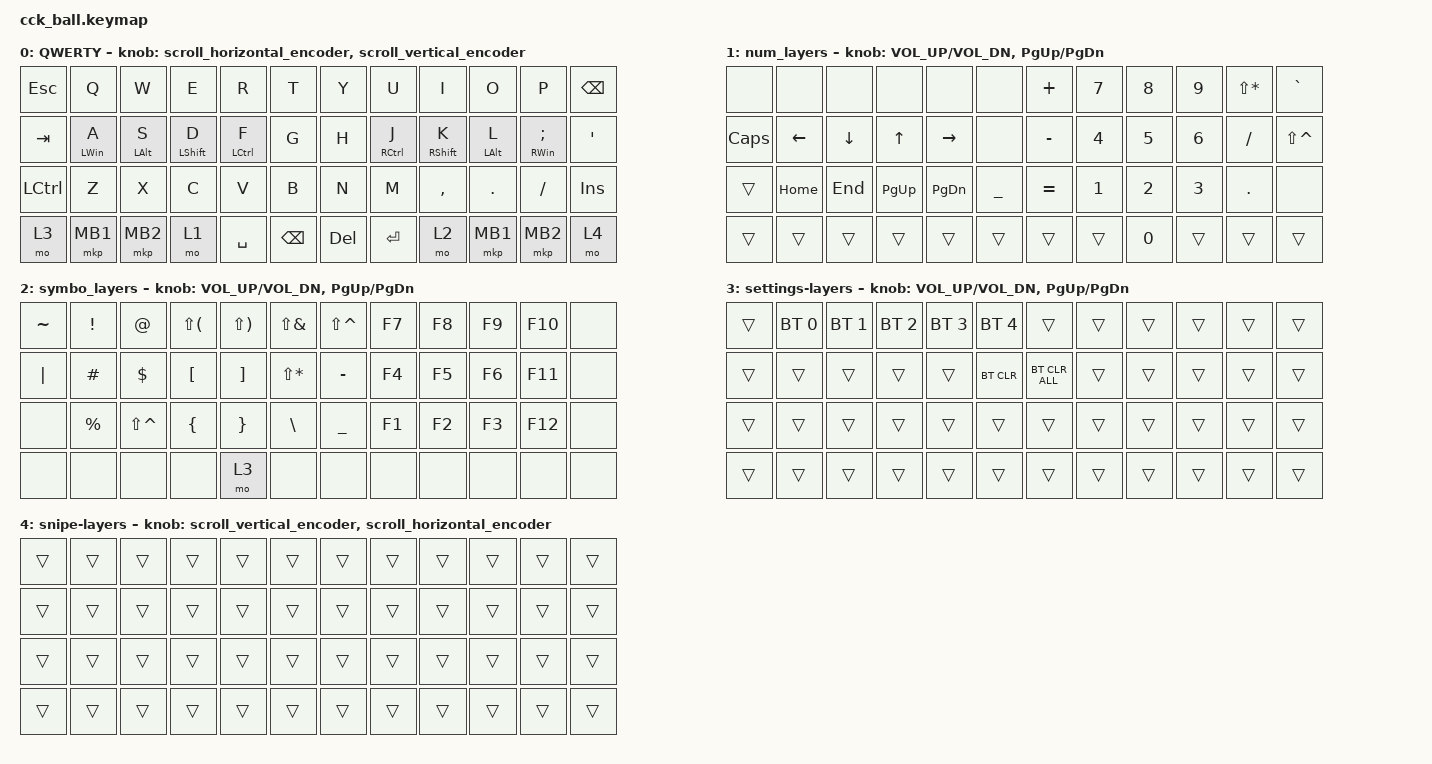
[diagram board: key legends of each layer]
#define ZMK_POINTING_DEFAULT_MOVE_VAL 1000 // 600
#define ZMK_POINTING_DEFAULT_SCRL_VAL 12   // 10

#include <input/processors.dtsi>
#include <zephyr/dt-bindings/input/input-event-codes.h>
#include <behaviors.dtsi>
#include <dt-bindings/zmk/bt.h>
#include <dt-bindings/zmk/keys.h>
#include <dt-bindings/zmk/pointing.h>

&mmv_input_listener { input-processors = <&zip_xy_scaler 2 1>; };

&msc_input_listener { input-processors = <&zip_scroll_scaler 2 1>; };

&msc {
    acceleration-exponent = <0>;      // 0
    time-to-max-speed-ms = <300>;       // 300
    delay-ms = <0>;                   // 0
};

&mmv {
    time-to-max-speed-ms = <500>;
    acceleration-exponent = <1>;
    trigger-period-ms = <16>;
};

&soft_off { hold-time-ms = <2000>; };

/ {
    // 上下滚动编码器行为

    scroll_vertical_encoder: scroll_vertical_encoder {
        compatible = "zmk,behavior-sensor-rotate";
        #sensor-binding-cells = <0>;
        bindings = <&msc SCRL_UP>, <&msc SCRL_DOWN>;

        tap-ms = <100>;
    };

    // 左右滚动编码器行为

    scroll_horizontal_encoder: scroll_horizontal_encoder {
        compatible = "zmk,behavior-sensor-rotate";
        #sensor-binding-cells = <0>;
        bindings = <&msc SCRL_LEFT>, <&msc SCRL_RIGHT>;

        tap-ms = <100>;
    };

    behaviors {
      lh_pht: home_row_left_mod_tap {
        compatible = "zmk,behavior-hold-tap";
        #binding-cells = <2>;
        flavor = "balanced";
        tapping-term-ms = <280>;
        quick-tap-ms = <175>;
        require-prior-idle-ms = <150>;
        hold-trigger-on-release;
        bindings = <&kp>, <&kp>;
        hold-trigger-key-positions = <6 7 8 9 10 11 18 19 20 21 22 23 29 30 31 32 33 34 41 42 43 44 45 46>;
      };

      rh_pht: home_row_right_mod_tap {
        compatible = "zmk,behavior-hold-tap";
        #binding-cells = <2>;
        flavor = "balanced";
        tapping-term-ms = <280>;
        quick-tap-ms = <175>;
        require-prior-idle-ms = <150>;
        hold-trigger-on-release;
        bindings = <&kp>, <&kp>;
        hold-trigger-key-positions = <0 1 2 3 4 5 12 13 14 15 16 17 23 24 25 26 27 28 35 36 37 38 39 40>;
      };
    };

    keymap {
        compatible = "zmk,keymap";

        QWERTY {
            bindings = <
&kp ESCAPE        &kp Q                &kp W                  &kp E                    &kp R                      &kp T          &kp Y       &kp U                        &kp I                     &kp O                  &kp P                       &kp BACKSPACE
&kp TAB           &lh_pht LEFT_WIN A   &lh_pht LEFT_ALT S     &lh_pht LEFT_SHIFT D     &lh_pht LEFT_CONTROL F     &kp G          &kp H       &rh_pht RIGHT_CONTROL J      &rh_pht RIGHT_SHIFT K     &rh_pht LEFT_ALT L     &rh_pht RIGHT_WIN SEMI      &kp SQT
&kp LEFT_CONTROL  &kp Z                &kp X                  &kp C                    &kp V                      &kp B          &kp N       &kp M                        &kp COMMA                 &kp DOT                &kp SLASH                   &kp INS
&mo 3             &mkp MB1             &mkp MB2               &mo 1                    &kp SPACE                  &kp BACKSPACE  &kp DELETE  &kp ENTER                    &mo 2                     &mkp MB1               &mkp MB2                    &mo 4
            >;

            sensor-bindings =
                <&scroll_horizontal_encoder>,
                // 编码器1：上下滚动,
                <&scroll_vertical_encoder>;
                // 编码器2：左右滚动
        };

        num_layers {
            bindings = <
&none      &none      &none     &none      &none      &none      &kp PLUS    &kp N7    &kp N8     &kp N9     &kp LS(STAR)    &kp GRAVE
&kp CAPS   &kp LEFT   &kp DOWN  &kp UP     &kp RIGHT  &none      &kp MINUS   &kp N4    &kp N5     &kp N6     &kp SLASH       &kp LS(CARET)
&trans     &kp HOME   &kp END   &kp PG_UP  &kp PG_DN  &kp UNDER  &kp EQUAL   &kp N1    &kp N2     &kp N3     &kp DOT         &none
&trans     &trans     &trans    &trans     &trans     &trans     &trans      &trans    &kp N0     &trans     &trans          &trans
            >;

            sensor-bindings = <&inc_dec_kp C_VOL_UP C_VOL_DN &inc_dec_kp PG_UP PG_DN>;
        };

        symbo_layers {
            bindings = <
&kp TILDE  &kp EXCL     &kp AT         &kp LS(LPAR)    &kp LS(RPAR)   &kp LS(AMPS)    &kp LS(CARET)  &kp F7     &kp F8      &kp F9      &kp F10      &none
&kp PIPE   &kp HASH     &kp DOLLAR     &kp LBKT        &kp RBKT       &kp LS(STAR)    &kp MINUS      &kp F4     &kp F5      &kp F6      &kp F11      &none
&none      &kp PERCENT  &kp LS(CARET)  &kp LEFT_BRACE  &kp RBRC       &kp BSLH        &kp UNDER      &kp F1     &kp F2      &kp F3      &kp F12      &none
&none      &none        &none          &none           &mo 3          &none           &none          &none      &none       &none       &none        &none
            >;

            sensor-bindings = <&inc_dec_kp C_VOL_UP C_VOL_DN &inc_dec_kp PG_UP PG_DN>;
        };

        settings-layers {
            bindings = <
&trans  &bt BT_SEL 0  &bt BT_SEL 1  &bt BT_SEL 2  &bt BT_SEL 3  &bt BT_SEL 4  &trans          &trans  &trans  &trans  &trans  &trans
&trans  &trans        &trans        &trans        &trans        &bt BT_CLR    &bt BT_CLR_ALL  &trans  &trans  &trans  &trans  &trans
&trans  &trans        &trans        &trans        &trans        &trans        &trans          &trans  &trans  &trans  &trans  &trans
&trans  &trans        &trans        &trans        &trans        &trans        &trans          &trans  &trans  &trans  &trans  &trans
            >;

            sensor-bindings = <&inc_dec_kp C_VOL_UP C_VOL_DN &inc_dec_kp PG_UP PG_DN>;
        };

        snipe-layers {
            bindings = <
&trans  &trans  &trans  &trans  &trans  &trans  &trans  &trans  &trans  &trans  &trans  &trans
&trans  &trans  &trans  &trans  &trans  &trans  &trans  &trans  &trans  &trans  &trans  &trans
&trans  &trans  &trans  &trans  &trans  &trans  &trans  &trans  &trans  &trans  &trans  &trans
&trans  &trans  &trans  &trans  &trans  &trans  &trans  &trans  &trans  &trans  &trans  &trans
            >;

            sensor-bindings =
                <&scroll_vertical_encoder>,
                // 编码器1：上下滚动,
                <&scroll_horizontal_encoder>;
  // 编码器2：左右滚动
        };
    };
};
